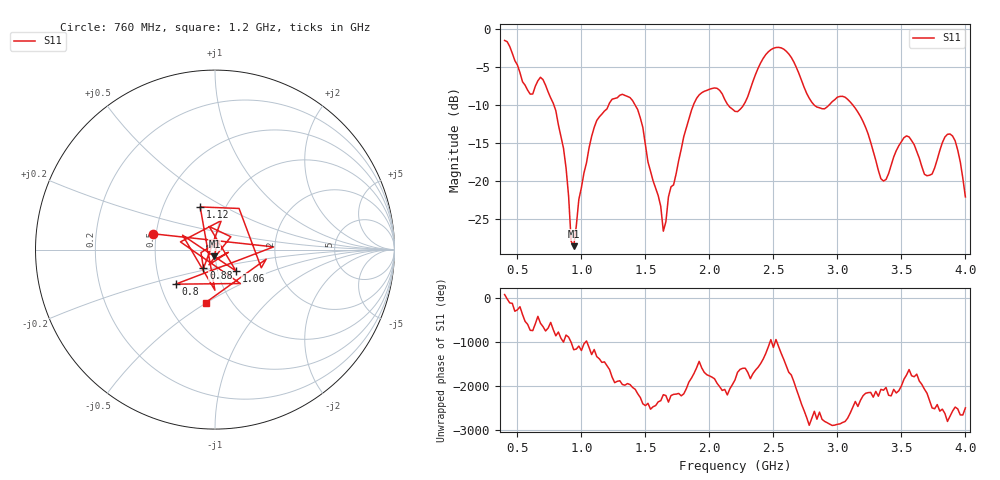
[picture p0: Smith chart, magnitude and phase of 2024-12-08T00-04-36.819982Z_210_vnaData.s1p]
!Created with skrf (http://scikit-rf.org).
# Hz S RI R 50.0
!freq ReS11 ImS11
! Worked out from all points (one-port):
!   181 points, 400 MHz to 4 GHz, reference 50 ohm
!   lowest |S11| = -28.5 dB at 940 MHz (marker M1), VSWR 1.08, Z = 49.6 - j3.7 ohm
!   |S11| at or under -10 dB: 785.8 MHz to 1.212 GHz (426 MHz wide, 42.7 % of centre); 1.421 GHz to 1.874 GHz (453.2 MHz wide, 27.5 % of centre); 3.123 GHz to end of sweep (the widest 3 of 5)
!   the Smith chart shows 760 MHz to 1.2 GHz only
!   S11 on the Smith chart (normalised r, x): 760 MHz: 0.48, +0.10; 800 MHz: 0.60, -0.25; 880 MHz: 0.86, -0.18; 1.06 GHz: 1.22, -0.30; 1.12 GHz: 0.76, +0.39; 1.2 GHz: 0.76, -0.49
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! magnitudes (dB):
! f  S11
! 400 MHz  -1.5
! 600 MHz  -8.5
! 680 MHz  -6.3
! 760 MHz  -9.0
! 800 MHz  -10.7
! 860 MHz  -15.6
! 880 MHz  -18.2
! 920 MHz  -27.9
! 940 MHz  -28.5
! 1.06 GHz  -15.6
! 1.12 GHz  -12.0
! 1.2 GHz  -10.5
! 1.3 GHz  -8.7
! 1.44 GHz  -10.6
! 1.64 GHz  -26.6
! 1.76 GHz  -17.3
! 1.92 GHz  -8.6
! 2.06 GHz  -7.8
! 2.2 GHz  -10.8
! 2.46 GHz  -3.0
! 2.66 GHz  -4.3
! 2.82 GHz  -10.0
! 3.1 GHz  -9.5
! 3.36 GHz  -20.0
! 3.56 GHz  -14.2
! 3.7 GHz  -19.3
! 3.9 GHz  -14.0
! 4 GHz  -22.1
